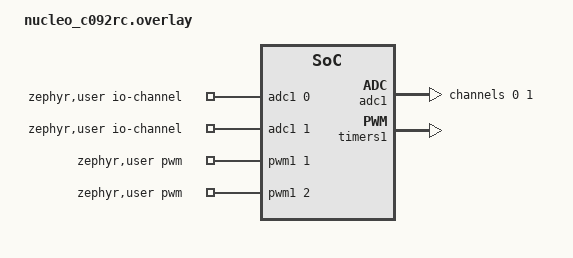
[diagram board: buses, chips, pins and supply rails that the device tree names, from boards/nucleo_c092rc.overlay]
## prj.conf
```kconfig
CONFIG_POLL=y
CONFIG_CAN=y
CONFIG_GPIO=y
CONFIG_ADC=y
CONFIG_PWM=y
CONFIG_CAN_INIT_PRIORITY=80

CONFIG_SHELL=y
CONFIG_CAN_SHELL=y
CONFIG_DEVICE_SHELL=y

CONFIG_GPIO=y
CONFIG_STATS=y
CONFIG_STATS_NAMES=y
CONFIG_STATS_SHELL=y
CONFIG_CAN_STATS=y

# Logging
CONFIG_LOG=y
CONFIG_LOG_MODE_MINIMAL=y
CONFIG_PRINTK=y

# Reasonable main stack
CONFIG_MAIN_STACK_SIZE=2048
```

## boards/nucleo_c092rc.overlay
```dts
/*
 * Overlay for nucleo_c092rc:
 *   A0  -> PA0  -> ADC1 channel 0   (potentiometer)
 *   D9  -> PA8  -> TIM1_CH1         (reverse PWM)
 *   D8  -> PA9  -> TIM1_CH2         (forward PWM)
 */


/ {
	zephyr,user {
		/* ADC channel for potentiometers */
		io-channels = <&adc1 0>, <&adc1 1>;

		/*
		 * Two PWM outputs:
		 *   pwm channel 1 -> D9 (PA8)
		 *   pwm channel 2 -> D8 (PA9)
		 *
		 * 50 us period = 20 kHz
		 */
		pwms =
			<&pwm1 1 PWM_USEC(50) PWM_POLARITY_NORMAL>,
			<&pwm1 2 PWM_USEC(50) PWM_POLARITY_NORMAL>;
	};
};

&adc1 {
	#address-cells = <1>;
	#size-cells = <0>;
	status = "okay";

	channel@0 {
		reg = <0>;
		zephyr,gain = "ADC_GAIN_1";
		zephyr,reference = "ADC_REF_INTERNAL";
		zephyr,acquisition-time = <ADC_ACQ_TIME_DEFAULT>;
		zephyr,resolution = <12>;
	};

	channel@1 {
		reg = <1>;
		zephyr,gain = "ADC_GAIN_1";
		zephyr,reference = "ADC_REF_INTERNAL";
		zephyr,acquisition-time = <ADC_ACQ_TIME_DEFAULT>;
		zephyr,resolution = <12>;
	};
};

/*
 * TIM1:
 *   CH1 -> PA8  (D9)
 *   CH2 -> PA9  (D8)
 */
&timers1 {
	status = "okay";
	st,prescaler = <0>;

	pwm1: pwm {
		status = "okay";

		pinctrl-0 = <
			&tim1_ch1_pa8
			&tim1_ch2_pa9
		>;

		pinctrl-names = "default";
	};
};
```

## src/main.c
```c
/*
 * Main application for the VCU (Vehicle Control Unit) module.
 *
 * This application demonstrates a modular embedded software architecture
 * using the Zephyr RTOS. The system currently performs:
 *
 *  - accelerator pedal ADC acquisition
 *  - PWM motor control
 *  - CAN bus initialization
 *  - CAN message transmission
 *  - CAN message reception using a dedicated thread
 *
 * System Overview:
 *
 *   pedal_adc module
 *        ↓
 *   main control loop
 *        ↓
 *   motor_controller_pwm module
 *        ↓
 *   can_sender module
 *
 * Meanwhile:
 *
 *   can_receiver module
 *        ↓
 *   background CAN receive thread
 *
 * The main loop continuously:
 *  1. reads accelerator pedal position
 *  2. applies pedal deadband logic
 *  3. calculates PWM duty cycle
 *  4. drives the motor controller
 *  5. transmits pedal position over CAN
 */

#include <stdio.h>
#include <stdint.h>
#include <stdlib.h>

#include <zephyr/device.h>
#include <zephyr/kernel.h>
#include <zephyr/sys/printk.h>

#include "pedal_adc.h"
#include "motor_controller_pwm.h"
#include "can_interface.h"
#include "can_receiver.h"
#include "can_sender.h"
#include "can_database.h"

/*
 * Main control loop execution period in milliseconds.
 *
 * This determines how frequently:
 *  - ADC values are sampled
 *  - motor outputs are updated
 *  - CAN messages are transmitted
 */
#define LOOP_PERIOD_MS 33

/*
 * Main application entry point.
 *
 * This function performs:
 *  - subsystem initialization
 *  - CAN interface startup
 *  - CAN receiver thread creation
 *  - continuous vehicle control execution
 *
 * Returns:
 *   0  -> normal operation (typically never reached)
 *  <0  -> initialization failure
 */
int main(void)
{
	static int rc;

	/*
	 * Retrieve pointer to initialized CAN controller device.
	 *
	 * The CAN hardware itself is owned by the CAN interface
	 * module and accessed through this helper function.
	 */
	const struct device *can_dev =
		can_interface_get_device();

	/* ---------- Subsystem Initialization ---------- */

	/*
	 * Initialize accelerator pedal ADC subsystem.
	 */
	rc = pedal_adc_setup();
	if (rc) {
		printk("pedal_adc_setup failed: %d\n", rc);
		return rc;
	}

	/*
	 * Initialize PWM motor controller subsystem.
	 */
	rc = motor_pwm_setup();
	if (rc) {
		printk("motor_pwm_setup failed: %d\n", rc);
		return rc;
	}

	/*
	 * Initialize CAN controller hardware.
	 */
	rc = can_interface_init(can_dev);
	if (rc) {
		printk("can_interface_init failed: %d\n", rc);
		return rc;
	}

	/*
	 * Create and start background CAN receive thread.
	 */
	rc = rx_thread_create(can_dev);
	if (rc) {
		printk("rx_thread_create failed: %d\n", rc);
		return rc;
	}

	printf("Finished init.\n");

	/* ---------- Main Vehicle Control Loop ---------- */

	while (1) {

		// * Raw accelerator pedal ADC reading.
		int32_t acc_value;
		int32_t brake_value;

		// * Read accelerator pedal position from ADC.
		rc = pedal_adc_read(&acc_value, &brake_value);
		if (rc) {
			printk("pedal_adc_read failed: %d\n", rc);
			return rc;
		}

		/* ---------- Pedal Processing ---------- */

		// * Motor direction command.
		enum motor_dir dir;

		// * Adjusted pedal value after deadband removal.
		uint32_t adj_acc_value;
		uint32_t adj_brake_value;

		// * PWM duty cycle percentage.
		float duty;

		// * Apply pedal deadband.
		if (acc_value <= ADC_DEADBAND) {
			dir = DIR_STOP;
			adj_acc_value = 0;
		} 
		else {
			/*
			 * Current configuration uses reverse direction.
			 *
			 * This may vary
			 */
			dir = DIR_REVERSE;

			// * Remove deadband offset from pedal value.
			adj_acc_value =
				(acc_value - ADC_DEADBAND);
		}
		if (brake_value <= ADC_DEADBAND) {
			adj_brake_value = 0;
		} 
		else {
			// * Remove deadband offset from pedal value.
			adj_brake_value =
				(brake_value - ADC_DEADBAND);
		}


		// * Convert adjusted pedal position into PWM duty cycle percentage.
		duty =
			((float)adj_acc_value / ADC_SPAN)
			* 100.0f;

		/* ---------- Motor Control ---------- */

		// * Apply motor direction command.
		(void)set_direction(dir);

		// * Apply PWM duty cycle command.
		(void)set_speed(duty);

		/* ---------- CAN Transmission ---------- */

		// * Convert duty cycle percentage into integer
		// * value for CAN transmission.
		uint8_t acc_pedal_percent = (uint8_t)duty;
		uint8_t brake_pedal_percent = (uint8_t)(((float)adj_brake_value / ADC_SPAN)
			* 100.0f);

		uint16_t pedals_data = (((uint16_t)brake_pedal_percent << 8) + acc_pedal_percent);
		// * Transmit accelerator pedal position over CAN bus.
		if (can_send_sensor_data(can_dev, pedals_data, PEDALS_MSG_ID)) {
			printk("can_send_sensor_data failed: %d\n", rc);
		}

		// * Wait until next control loop iteration.
		k_msleep(LOOP_PERIOD_MS);
	}
};
```

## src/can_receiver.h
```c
/*
 * CAN Receiver module for the VCU system.
 *
 * This module is responsible for:
 *  - Creating and managing the CAN receive thread
 *  - Configuring CAN receive filters
 *  - Receiving CAN frames from the bus
 *  - Parsing incoming CAN messages
 *  - Dispatching received data to the application layer
 *
 * The receiver runs as a dedicated Zephyr thread which continuously
 * waits for incoming CAN traffic using a CAN message queue.
 *
 * Separating CAN receive functionality into its own module improves:
 *  - modularity
 *  - scalability
 *  - readability
 *  - maintainability
 *
 * Additional CAN message filters and handlers can be added here
 * as more VCU subsystems are implemented.
 */

#ifndef CAN_RECEIVER_H
#define CAN_RECEIVER_H

#include <zephyr/device.h>

/* ---------- RX Thread Configuration ---------- */

/*
 * Stack size allocated for the CAN receive thread.
 *
 * Increase this value if:
 *  - more complex parsing is added
 *  - large local variables are used
 *  - additional processing is added to the RX thread
 */
#define RX_THREAD_STACK_SIZE 512

/*
 * Zephyr thread priority for the CAN receive thread.
 *
 * Lower numerical values correspond to higher priority.
 */
#define RX_THREAD_PRIORITY 2



/*
 * struct containing all CAN message filters
 * 
 * NOTES:
 * Message IDs should first be defined in can_database.h
 * Add new CAN messages here if you will need to receive them
 * Be sure to update NUM_CAN_FILTERS appropriately in can_receiver.h
 * Receiving behavior, if desired, needs to be defined in rx_thread below
 */
//const struct can_filter vcu_filters[NUM_CAN_FILTERS];

/* ---------- Public Interface ---------- */

/*
 * Main CAN receive thread function.
 *
 * This thread:
 *  - configures CAN receive filters
 *  - waits for incoming CAN messages
 *  - processes received CAN frames
 *  - prints or dispatches decoded data
 *
 * Parameters:
 *  can_dev - Pointer to CAN device passed during thread creation
 *  unused2 - Unused Zephyr thread parameter
 *  unused3 - Unused Zephyr thread parameter
 */
void rx_thread(void *can_dev, void *unused2, void *unused3);

/*
 * Creates and starts the CAN receive thread.
 *
 * Parameters:
 *  can_dev - Pointer to initialized CAN device
 *
 * Returns:
 *   0  -> Thread successfully started
 *  <0  -> Thread creation failed
 */
int rx_thread_create(const struct device *can_dev);

#endif /* CAN_RECEIVER_H */
```

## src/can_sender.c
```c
/*
 * CAN Sender module implementation for the VCU system.
 *
 * This module handles:
 *  - CAN frame construction
 *  - sensor data encoding
 *  - CAN message transmission
 *  - transmission completion callbacks
 *
 * The purpose of this module is to isolate CAN transmission
 * logic from the main application layer.
 *
 * Instead of manually constructing CAN frames throughout the
 * application, the application can simply call helper functions
 * such as:
 *
 *   can_send_sensor_data(...)
 *
 * This produces cleaner and more maintainable code.
 */

#include <stdio.h>

#include <zephyr/drivers/can.h>
#include <zephyr/kernel.h>
#include <zephyr/sys/byteorder.h>

#include "can_interface.h"
#include "can_sender.h"
#include "can_database.h"

//Number of frames to be created for sending data
#define NUM_CAN_FRAMES 2

/* OPTIONAL

 * 
 * Define can frame specs here such as payload size, msg id, etc.
 * 
 * Update NUM_CAN_FRAMES in can_sender.h
 * 
 * If not added here, generic frames will be used
 *
 * MSG IDs should be defined in can_database.h first
*/
const struct can_frame vcu_frames[NUM_CAN_FRAMES] = {
	/*{
		.flags = 0U,
		.id = ACCELERATOR_MSG_ID,
		.dlc = 2
	},
	{
		.flags = 0U,
		.id = BRAKE_MSG_ID,
		.dlc = 2
	},*/
	{
		.flags = 0U,
		.id = PEDALS_MSG_ID,
		.dlc = 2
	},
	{
		.flags = 0U,
		.id = MOTOR_DUTY_MSG_ID,
		.dlc = 2
	}
};

/*
 * CAN transmit completion callback.
 *
 * This function is automatically called by the Zephyr CAN driver
 * after a CAN transmission completes.
 *
 * Parameters:
 *  dev   - Pointer to CAN controller device
 *  error - Transmission result code
 *  arg   - User-defined argument passed into can_send()
 *
 * The callback is useful for:
 *  - detecting failed transmissions
 *  - debugging CAN traffic
 *  - asynchronous communication handling
 *
 * NOTE:
 *  This callback may execute in interrupt context, so heavy
 *  processing should be avoided here.
 */
void tx_irq_callback(
	const struct device *dev,
	int error,
	void *arg) {

	ARG_UNUSED(dev);

	char *sender = (char *)arg;

	if (error != 0) {
		printf("CAN TX callback error [%d]\nSender: %s\n", error, sender);
	}
}

/*
 * Sends a 16-bit sensor value over CAN.
 *
 * This function:
 *  1. Creates a CAN frame
 *  2. Stores the sensor value into the payload
 *  3. Converts data to big-endian format
 *  4. Sends the CAN frame
 *
 * Parameters:
 *  can_dev      - Pointer to initialized CAN device
 *  sensor_value - 16-bit sensor value to transmit
 *  sensor_id    - CAN identifier for this message
 *
 * Returns:
 *   0  -> Message successfully queued for transmission
 *  <0  -> Transmission failed
 */
int can_send_sensor_data(
	const struct device *can_dev,
	uint16_t sensor_value,
	uint32_t sensor_id
) {
	
	/*
	 * CAN frame struct
	 *
	 * generic configuration:
	 *  - standard 11-bit CAN identifier
	 *  - 8-byte payload
	 */
	struct can_frame sensor_frame = {
		.flags = 0U,
		.id = sensor_id,
		.dlc = 8
	};

	// If frame for msg id defined above, inherit frame configuration
	for (int i = 0; i < NUM_CAN_FRAMES; i++) {
		if (sensor_id == vcu_frames[i].id) {
			sensor_frame = vcu_frames[i];
			break;
		}
	}

	// Store sensor value into CAN payload.
	UNALIGNED_PUT(
		sys_cpu_to_be16(sensor_value),
		(uint16_t *)&sensor_frame.data[0]
	);

	/*
	 * Transmit CAN frame.
	 *
	 * Parameters:
	 *  - CAN device
	 *  - frame pointer
	 *  - timeout
	 *  - TX completion callback
	 *  - user argument passed into callback
	 */
	return can_send(
		can_dev,
		&sensor_frame,
		K_MSEC(100),
		tx_irq_callback,
		"sensor_tx"
	);
}
```

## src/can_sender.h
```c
/*
 * CAN Sender module for the VCU system.
 *
 * This module is responsible for:
 *  - constructing CAN transmit frames
 *  - encoding sensor data into CAN payloads
 *  - transmitting CAN messages onto the bus
 *  - handling transmit completion callbacks
 *
 * The sender module provides a simplified API that allows the
 * application layer to transmit sensor values without directly
 * interacting with low-level CAN frame structures.
 *
 * This improves:
 *  - modularity
 *  - code reuse
 *  - readability
 *  - maintainability
 *
 * Additional helper functions can be added later for:
 *  - brake pedal messages
 *  - steering wheel messages
 *  - dashboard communication
 *  - inverter control
 *  - battery management
 */

#ifndef CAN_SENDER_H
#define CAN_SENDER_H

#include <stdint.h>

#include <zephyr/device.h>



/* OPTIONAL
 * Define can frame specs here such as payload size, msg id, etc.
 * 
 * Update NUM_CAN_FRAMES in can_sender.h
 * 
 * If not added here, generic frames will be used
*/
//const struct can_frame vcu_frames[NUM_CAN_FRAMES];

/* ---------- Public Interface ---------- */

/*
 * CAN transmit completion callback.
 *
 * This function is automatically called by the Zephyr CAN driver
 * after a CAN frame transmission completes or fails.
 *
 * Parameters:
 *  dev   - Pointer to CAN device
 *  error - Transmission result
 *            0  -> successful transmission
 *           <0  -> transmission failed
 *  arg   - Optional user-provided argument passed to can_send()
 *
 * This callback is useful for:
 *  - debugging
 *  - error detection
 *  - transmission tracking
 *  - asynchronous CAN communication
 */
void tx_irq_callback(
	const struct device *dev,
	int error,
	void *arg
);

/*
 * Sends a 16-bit sensor value over CAN.
 *
 * This helper function:
 *  - constructs a CAN frame
 *  - encodes the sensor value into the payload
 *  - transmits the frame using the Zephyr CAN driver
 *
 * Parameters:
 *  can_dev     - Pointer to initialized CAN device
 *  sensor_value - 16-bit sensor value to transmit
 *  sensor_id    - CAN identifier for the sensor message
 *
 * Returns:
 *   0  -> transmission successfully queued
 *  <0  -> transmission failed
 */
int can_send_sensor_data(
	const struct device *can_dev,
	uint16_t sensor_value,
	uint32_t sensor_id
);

#endif /* CAN_SENDER_H */
```
